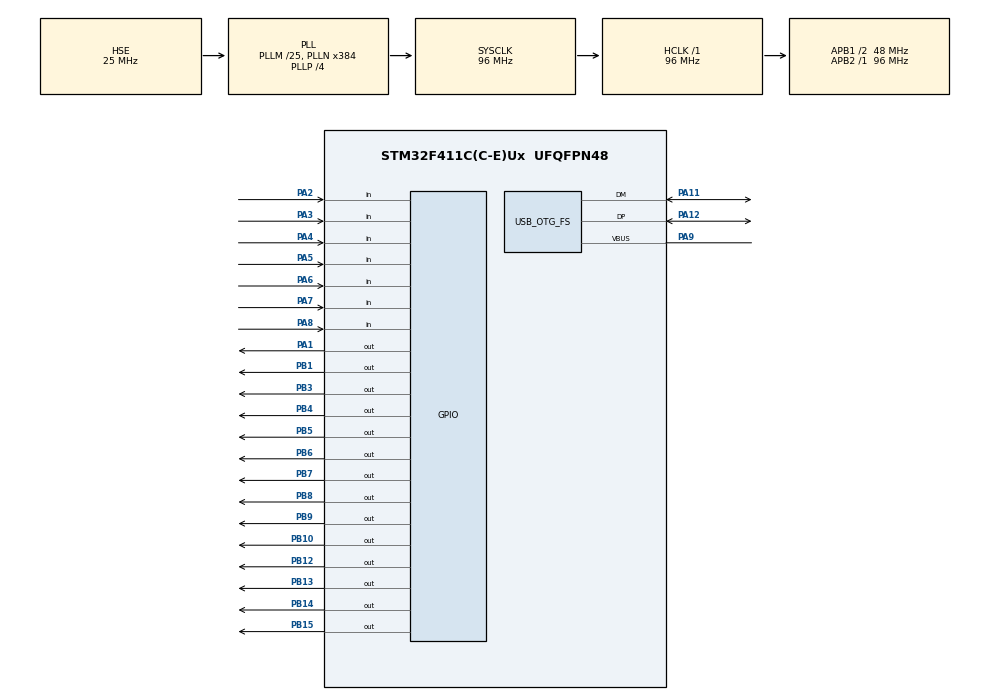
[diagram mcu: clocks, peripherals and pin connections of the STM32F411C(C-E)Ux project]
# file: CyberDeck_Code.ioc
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Mcu.Family=STM32F4
Mcu.Name=STM32F411C(C-E)Ux
Mcu.Package=UFQFPN48
NVIC.OTG_FS_IRQn=true\:0\:0\:false\:false\:true\:false\:true\:true
NVIC.PriorityGroup=NVIC_PRIORITYGROUP_4
PA1.Signal=GPIO_Output
PA11.Mode=Device_Only
PA11.Signal=USB_OTG_FS_DM
PA12.Mode=Device_Only
PA12.Signal=USB_OTG_FS_DP
PA13.Mode=Serial_Wire
PA13.Signal=SYS_JTMS-SWDIO
PA14.Mode=Serial_Wire
PA14.Signal=SYS_JTCK-SWCLK
PA2.Signal=GPIO_Input
PA3.Signal=GPIO_Input
PA4.Signal=GPIO_Input
PA5.Signal=GPIO_Input
PA6.Signal=GPIO_Input
PA7.Signal=GPIO_Input
PA8.Signal=GPIO_Input
PA9.Mode=Activate_VBUS
PA9.Signal=USB_OTG_FS_VBUS
PB1.GPIO_Speed=GPIO_SPEED_FREQ_VERY_HIGH
PB1.Signal=GPIO_Output
PB10.GPIO_Speed=GPIO_SPEED_FREQ_VERY_HIGH
PB10.Signal=GPIO_Output
PB12.GPIO_Speed=GPIO_SPEED_FREQ_VERY_HIGH
PB12.Signal=GPIO_Output
PB13.GPIO_Speed=GPIO_SPEED_FREQ_VERY_HIGH
PB13.Signal=GPIO_Output
PB14.GPIO_Speed=GPIO_SPEED_FREQ_VERY_HIGH
PB14.Signal=GPIO_Output
PB15.GPIO_Speed=GPIO_SPEED_FREQ_VERY_HIGH
PB15.Signal=GPIO_Output
PB3.GPIO_Speed=GPIO_SPEED_FREQ_VERY_HIGH
PB3.Signal=GPIO_Output
PB4.GPIO_Speed=GPIO_SPEED_FREQ_VERY_HIGH
PB4.Signal=GPIO_Output
PB5.GPIO_Speed=GPIO_SPEED_FREQ_VERY_HIGH
PB5.Signal=GPIO_Output
PB6.GPIO_Speed=GPIO_SPEED_FREQ_VERY_HIGH
PB6.Signal=GPIO_Output
PB7.GPIO_Speed=GPIO_SPEED_FREQ_VERY_HIGH
PB7.Signal=GPIO_Output
PB8.GPIO_Speed=GPIO_SPEED_FREQ_VERY_HIGH
PB8.Signal=GPIO_Output
PB9.GPIO_Speed=GPIO_SPEED_FREQ_VERY_HIGH
PB9.Signal=GPIO_Output
PC14-OSC32_IN.Mode=LSE-External-Oscillator
PC14-OSC32_IN.Signal=RCC_OSC32_IN
PC15-OSC32_OUT.Mode=LSE-External-Oscillator
PC15-OSC32_OUT.Signal=RCC_OSC32_OUT
PH0\ -\ OSC_IN.Mode=HSE-External-Oscillator
PH0\ -\ OSC_IN.Signal=RCC_OSC_IN
PH1\ -\ OSC_OUT.Mode=HSE-External-Oscillator
PH1\ -\ OSC_OUT.Signal=RCC_OSC_OUT
ProjectManager.HeapSize=0x200
ProjectManager.StackSize=0x400
ProjectManager.TargetToolchain=CMake
RCC.48MHZClocksFreq_Value=48000000
RCC.AHBFreq_Value=96000000
RCC.APB1CLKDivider=RCC_HCLK_DIV2
RCC.APB1Freq_Value=48000000
RCC.APB1TimFreq_Value=96000000
RCC.APB2Freq_Value=96000000
RCC.APB2TimFreq_Value=96000000
RCC.CortexFreq_Value=96000000
RCC.EnbaleCSS=true
RCC.HCLKFreq_Value=96000000
RCC.HSE_VALUE=25000000
RCC.HSI_VALUE=16000000
RCC.PLLM=25
RCC.PLLN=384
RCC.PLLP=RCC_PLLP_DIV4
RCC.PLLQ=8
RCC.SYSCLKFreq_VALUE=96000000
RCC.SYSCLKSource=RCC_SYSCLKSOURCE_PLLCLK
RCC.VCOOutputFreq_Value=384000000
USB_DEVICE.CLASS_NAME_FS=CDC
USB_DEVICE.VirtualMode=Cdc
USB_DEVICE.VirtualModeFS=Cdc_FS
USB_OTG_FS.VirtualMode=Device_Only
VP_USB_DEVICE_VS_USB_DEVICE_CDC_FS.Mode=CDC_FS
board=custom

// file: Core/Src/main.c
/* USER CODE BEGIN Header */
/**
  ******************************************************************************
  * @file           : main.c
  * @brief          : Main program body
  ******************************************************************************
  * @attention
  *
  * Copyright (c) 2026 STMicroelectronics.
  * All rights reserved.
  *
  * This software is licensed under terms that can be found in the LICENSE file
  * in the root directory of this software component.
  * If no LICENSE file comes with this software, it is provided AS-IS.
  *
  ******************************************************************************
  */
/* USER CODE END Header */
#include "main.h"
#include "usb_device.h"
#include "gpio.h"

/* USER CODE BEGIN Includes */

#include "ili9341.h"

/* USER CODE END Includes */

/* USER CODE BEGIN PD */

#define BUTTON_DEBOUNCE_MS 20U
#define BUTTON_COUNT       7U

#define RECTANGLE_X        40U
#define RECTANGLE_Y        40U
#define RECTANGLE_WIDTH    160U
#define RECTANGLE_HEIGHT   80U
#define RECTANGLE_ON_COLOR 0xF800U /* RGB565 red. */
#define RECTANGLE_OFF_COLOR 0x0000U /* RGB565 black. */

/* USER CODE END PD */

/* USER CODE BEGIN PV */

static const uint16_t button_pins[BUTTON_COUNT] = {
  GPIO_PIN_2,
  GPIO_PIN_3,
  GPIO_PIN_4,
  GPIO_PIN_5,
  GPIO_PIN_6,
  GPIO_PIN_7,
  GPIO_PIN_8
};
static GPIO_PinState button_stable_states[BUTTON_COUNT];
static GPIO_PinState button_last_samples[BUTTON_COUNT];
static uint32_t button_last_change_ticks[BUTTON_COUNT];
static uint8_t rectangle_on;

static const ILI9341_HandleTypeDef ili9341_display = {
  .data_port = GPIOB,
  .data_pin = {
    GPIO_PIN_7,  /* D0 */
    GPIO_PIN_8,  /* D1 */
    GPIO_PIN_9,  /* D2 */
    GPIO_PIN_10, /* D3 */
    GPIO_PIN_12, /* D4 */
    GPIO_PIN_13, /* D5 */
    GPIO_PIN_14, /* D6 */
    GPIO_PIN_15  /* D7 */
  },
  .wr_port = GPIOB,
  .wr_pin = GPIO_PIN_4,
  .rd_port = GPIOB,
  .rd_pin = GPIO_PIN_5,
  .dc_port = GPIOB,
  .dc_pin = GPIO_PIN_3,
  .cs_port = GPIOB,
  .cs_pin = GPIO_PIN_1,
  .reset_port = GPIOB,
  .reset_pin = GPIO_PIN_6
};

/* USER CODE END PV */

void SystemClock_Config(void);

int main(void)
{

  /* MCU Configuration--------------------------------------------------------*/

  /* Reset of all peripherals, Initializes the Flash interface and the Systick. */
  HAL_Init();

  /* Configure the system clock */
  SystemClock_Config();

  /* Initialize all configured peripherals */
  MX_GPIO_Init();
  MX_USB_DEVICE_Init();
  /* USER CODE BEGIN 2 */

  /* Keep the read strobe inactive and deselect the display while idle. */
  HAL_GPIO_WritePin(GPIOB, GPIO_PIN_1 | GPIO_PIN_4 | GPIO_PIN_5,
                    GPIO_PIN_SET);
  ILI9341_Init(&ili9341_display);
  ILI9341_FillScreen(&ili9341_display, RECTANGLE_OFF_COLOR);

  uint32_t initial_tick = HAL_GetTick();

  for (uint32_t button_index = 0U; button_index < BUTTON_COUNT; button_index++)
  {
    button_stable_states[button_index] =
        HAL_GPIO_ReadPin(GPIOA, button_pins[button_index]);
    button_last_samples[button_index] = button_stable_states[button_index];
    button_last_change_ticks[button_index] = initial_tick;
  }

  /* USER CODE END 2 */

  /* Infinite loop */
  while (1)
  {

    /* USER CODE BEGIN 3 */
    uint32_t current_tick = HAL_GetTick();

    for (uint32_t button_index = 0U; button_index < BUTTON_COUNT; button_index++)
    {
      GPIO_PinState button_sample =
          HAL_GPIO_ReadPin(GPIOA, button_pins[button_index]);

      if (button_sample != button_last_samples[button_index])
      {
        button_last_samples[button_index] = button_sample;
        button_last_change_ticks[button_index] = current_tick;
      }
      else if ((button_sample != button_stable_states[button_index]) &&
               ((current_tick - button_last_change_ticks[button_index]) >=
                BUTTON_DEBOUNCE_MS))
      {
        button_stable_states[button_index] = button_sample;

        if (button_stable_states[button_index] == GPIO_PIN_SET)
        {
          HAL_GPIO_TogglePin(GPIOA, GPIO_PIN_1);

          rectangle_on = (uint8_t)!rectangle_on;
          ILI9341_FillRect(&ili9341_display,
                           RECTANGLE_X,
                           RECTANGLE_Y,
                           RECTANGLE_WIDTH,
                           RECTANGLE_HEIGHT,
                           rectangle_on ? RECTANGLE_ON_COLOR
                                        : RECTANGLE_OFF_COLOR);
        }
      }
    }
  }
  /* USER CODE END 3 */
}

void SystemClock_Config(void)
{
  RCC_OscInitTypeDef RCC_OscInitStruct = {0};
  RCC_ClkInitTypeDef RCC_ClkInitStruct = {0};

  /** Configure the main internal regulator output voltage
  */
  __HAL_RCC_PWR_CLK_ENABLE();
  __HAL_PWR_VOLTAGESCALING_CONFIG(PWR_REGULATOR_VOLTAGE_SCALE1);

  /** Initializes the RCC Oscillators according to the specified parameters
  * in the RCC_OscInitTypeDef structure.
  */
  RCC_OscInitStruct.OscillatorType = RCC_OSCILLATORTYPE_HSE;
  RCC_OscInitStruct.HSEState = RCC_HSE_ON;
  RCC_OscInitStruct.PLL.PLLState = RCC_PLL_ON;
  RCC_OscInitStruct.PLL.PLLSource = RCC_PLLSOURCE_HSE;
  RCC_OscInitStruct.PLL.PLLM = 25;
  RCC_OscInitStruct.PLL.PLLN = 384;
  RCC_OscInitStruct.PLL.PLLP = RCC_PLLP_DIV4;
  RCC_OscInitStruct.PLL.PLLQ = 8;
  if (HAL_RCC_OscConfig(&RCC_OscInitStruct) != HAL_OK)
  {
    Error_Handler();
  }

  /** Initializes the CPU, AHB and APB buses clocks
  */
  RCC_ClkInitStruct.ClockType = RCC_CLOCKTYPE_HCLK|RCC_CLOCKTYPE_SYSCLK
                              |RCC_CLOCKTYPE_PCLK1|RCC_CLOCKTYPE_PCLK2;
  RCC_ClkInitStruct.SYSCLKSource = RCC_SYSCLKSOURCE_PLLCLK;
  RCC_ClkInitStruct.AHBCLKDivider = RCC_SYSCLK_DIV1;
  RCC_ClkInitStruct.APB1CLKDivider = RCC_HCLK_DIV2;
  RCC_ClkInitStruct.APB2CLKDivider = RCC_HCLK_DIV1;

  if (HAL_RCC_ClockConfig(&RCC_ClkInitStruct, FLASH_LATENCY_3) != HAL_OK)
  {
    Error_Handler();
  }

  /** Enables the Clock Security System
  */
  HAL_RCC_EnableCSS();
}

void Error_Handler(void)
{
  __disable_irq();
  while (1)
  {
  }
}
